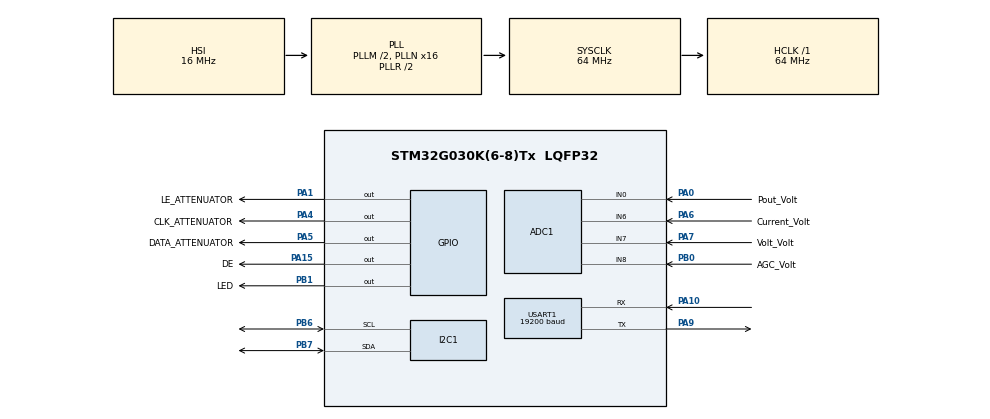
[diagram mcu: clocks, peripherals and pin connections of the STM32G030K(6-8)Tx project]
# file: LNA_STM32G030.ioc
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ADC1.Channel-23\#ChannelRegularConversion=ADC_CHANNEL_6
ADC1.Channel-24\#ChannelRegularConversion=ADC_CHANNEL_8
ADC1.Channel-25\#ChannelRegularConversion=ADC_CHANNEL_7
ADC1.Channel-9\#ChannelRegularConversion=ADC_CHANNEL_0
ADC1.DMAContinuousRequests=ENABLE
ADC1.EOCSelection=ADC_EOC_SEQ_CONV
ADC1.ExternalTrigConv=ADC_SOFTWARE_START
ADC1.NbrOfConversion=4
ADC1.NbrOfConversionFlag=1
ADC1.Rank-23\#ChannelRegularConversion=2
ADC1.Rank-24\#ChannelRegularConversion=3
ADC1.Rank-25\#ChannelRegularConversion=4
ADC1.Rank-9\#ChannelRegularConversion=1
ADC1.SamplingTime-23\#ChannelRegularConversion=ADC_SAMPLINGTIME_COMMON_1
ADC1.SamplingTime-24\#ChannelRegularConversion=ADC_SAMPLINGTIME_COMMON_1
ADC1.SamplingTime-25\#ChannelRegularConversion=ADC_SAMPLINGTIME_COMMON_1
ADC1.SamplingTime-9\#ChannelRegularConversion=ADC_SAMPLINGTIME_COMMON_1
ADC1.SamplingTimeCommon1=ADC_SAMPLETIME_12CYCLES_5
ADC1.SamplingTimeCommon2=ADC_SAMPLETIME_12CYCLES_5
ADC1.SelectedChannel=ADC_CHANNEL_0|ADC_CHANNEL_6|ADC_CHANNEL_7|ADC_CHANNEL_8
ADC1.master=1
Dma.ADC1.0.Direction=DMA_PERIPH_TO_MEMORY
Dma.ADC1.0.EventEnable=DISABLE
Dma.ADC1.0.Instance=DMA1_Channel3
Dma.ADC1.0.MemDataAlignment=DMA_MDATAALIGN_HALFWORD
Dma.ADC1.0.MemInc=DMA_MINC_ENABLE
Dma.ADC1.0.Mode=DMA_NORMAL
Dma.ADC1.0.PeriphDataAlignment=DMA_PDATAALIGN_HALFWORD
Dma.ADC1.0.PeriphInc=DMA_PINC_DISABLE
Dma.ADC1.0.Polarity=HAL_DMAMUX_REQ_GEN_RISING
Dma.ADC1.0.Priority=DMA_PRIORITY_LOW
Dma.ADC1.0.RequestNumber=1
Dma.ADC1.0.SignalID=NONE
Dma.ADC1.0.SyncEnable=DISABLE
Dma.ADC1.0.SyncPolarity=HAL_DMAMUX_SYNC_NO_EVENT
Dma.ADC1.0.SyncRequestNumber=1
Dma.ADC1.0.SyncSignalID=NONE
Dma.Request0=ADC1
Dma.Request1=USART1_RX
Dma.USART1_RX.1.Direction=DMA_PERIPH_TO_MEMORY
Dma.USART1_RX.1.EventEnable=DISABLE
Dma.USART1_RX.1.Instance=DMA1_Channel1
Dma.USART1_RX.1.MemDataAlignment=DMA_MDATAALIGN_BYTE
Dma.USART1_RX.1.MemInc=DMA_MINC_ENABLE
Dma.USART1_RX.1.Mode=DMA_NORMAL
Dma.USART1_RX.1.PeriphDataAlignment=DMA_PDATAALIGN_BYTE
Dma.USART1_RX.1.PeriphInc=DMA_PINC_DISABLE
Dma.USART1_RX.1.Polarity=HAL_DMAMUX_REQ_GEN_RISING
Dma.USART1_RX.1.Priority=DMA_PRIORITY_LOW
Dma.USART1_RX.1.RequestNumber=1
Dma.USART1_RX.1.SignalID=NONE
Dma.USART1_RX.1.SyncEnable=DISABLE
Dma.USART1_RX.1.SyncPolarity=HAL_DMAMUX_SYNC_NO_EVENT
Dma.USART1_RX.1.SyncRequestNumber=1
Dma.USART1_RX.1.SyncSignalID=NONE
I2C1.Timing=0x10707DBC
IWDG.Prescaler=IWDG_PRESCALER_16
IWDG.Reload=2000
Mcu.Family=STM32G0
Mcu.Name=STM32G030K(6-8)Tx
Mcu.Package=LQFP32
NVIC.DMA1_Channel1_IRQn=true\:0\:0\:false\:false\:true\:false\:true\:true
NVIC.DMA1_Channel2_3_IRQn=true\:0\:0\:false\:false\:true\:false\:true\:true
PA0.GPIO_Label=Pout_Volt
PA0.Mode=IN0
PA0.Signal=ADC1_IN0
PA1.GPIO_Label=LE_ATTENUATOR
PA1.Signal=GPIO_Output
PA10.Mode=Asynchronous
PA10.Signal=USART1_RX
PA13.Mode=Serial_Wire
PA13.Signal=SYS_SWDIO
PA14-BOOT0.Mode=Serial_Wire
PA14-BOOT0.Signal=SYS_SWCLK
PA15.GPIO_Label=DE
PA15.Signal=GPIO_Output
PA2.Signal=USART2_TX
PA3.Signal=USART2_RX
PA4.GPIO_Label=CLK_ATTENUATOR
PA4.Signal=GPIO_Output
PA5.GPIO_Label=DATA_ATTENUATOR
PA5.Signal=GPIO_Output
PA6.GPIO_Label=Current_Volt
PA6.Mode=IN6
PA6.Signal=ADC1_IN6
PA7.GPIO_Label=Volt_Volt
PA7.Mode=IN7
PA7.Signal=ADC1_IN7
PA9.Mode=Asynchronous
PA9.Signal=USART1_TX
PB0.GPIO_Label=AGC_Volt
PB0.Signal=SharedAnalog_PB0
PB1.GPIO_Label=LED
PB1.Signal=GPIO_Output
PB6.Mode=I2C
PB6.Signal=I2C1_SCL
PB7.Mode=I2C
PB7.Signal=I2C1_SDA
ProjectManager.HeapSize=0x200
ProjectManager.StackSize=0x400
ProjectManager.TargetToolchain=STM32CubeIDE
RCC.ADCFreq_Value=64000000
RCC.AHBFreq_Value=64000000
RCC.CortexFreq_Value=64000000
RCC.EXTERNAL_CLOCK_VALUE=12288000
RCC.HCLKFreq_Value=64000000
RCC.HSE_VALUE=8000000
RCC.HSI_VALUE=16000000
RCC.LSE_VALUE=32768
RCC.PLLM=RCC_PLLM_DIV2
RCC.PLLN=16
RCC.SYSCLKFreq_VALUE=64000000
RCC.SYSCLKSource=RCC_SYSCLKSOURCE_PLLCLK
RCC.VCOOutputFreq_Value=128000000
SH.SharedAnalog_PB0.0=GPIO_Analog
SH.SharedAnalog_PB0.1=ADC1_IN8,IN8
USART1.BaudRate=19200
USART1.VirtualMode-Asynchronous=VM_ASYNC
VP_IWDG_VS_IWDG.Mode=IWDG_Activate
board=custom

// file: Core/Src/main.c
/* USER CODE BEGIN Header */
/**
 ******************************************************************************
 * @file           : main.c
 * @brief          : Main program body
 ******************************************************************************
 * @attention
 *
 * Copyright (c) 2022 STMicroelectronics.
 * All rights reserved.
 *
 * This software is licensed under terms that can be found in the LICENSE file
 * in the root directory of this software component.
 * If no LICENSE file comes with this software, it is provided AS-IS.
 *
 ******************************************************************************
 */
/* USER CODE END Header */
#include "main.h"

/* USER CODE BEGIN Includes */
#include <stdio.h>
#include <stdlib.h>
#include <string.h>
#include "eeprom.h"
#include "utils.h"
/* USER CODE END Includes */

ADC_HandleTypeDef hadc1;
DMA_HandleTypeDef hdma_adc1;

I2C_HandleTypeDef hi2c1;

IWDG_HandleTypeDef hiwdg;

UART_HandleTypeDef huart1;
DMA_HandleTypeDef hdma_usart1_rx;

/* USER CODE BEGIN PV */

#define RX_UART1_BUFFLEN  20
#define TX_UART1_BUFFLEN  100
#define LTEL_FRAME_SIZE 14
#define SIGMA_FRAME_SIZE 14
#define MEDIA_NUM 20

static const uint8_t MODULE_ADDR = 0x08;
static const uint8_t MODULE_FUNCTION = 0x09;

static const uint8_t QUERY_PARAMETER_LTEL = 0x11;
static const uint8_t QUERY_PARAMETER_SIGMA = 0x12;
static const uint8_t QUERY_PARAMETER_STR = 0x15;
static const uint8_t QUERY_ADC = 0x16;

static const uint8_t SET_ATT_LTEL = 0x20;
static const uint8_t SET_POUT_MAX = 0x24;
static const uint8_t SET_POUT_MIN = 0x23;

static const float ADC_CURRENT_FACTOR = 298.1818182f;
static const float ADC_VOLTAGE_FACTOR = 0.007404330f;

static const uint8_t LTEL_START_MARK = 0x7e;
static const uint8_t LTEL_END_MARK = 0x7f;

static const int8_t POUT_DBM_MAX = 0;
static const int8_t POUT_DBM_MIN = -30;
static const uint16_t POUT_ADC_MAX = 1833;
static const uint16_t POUT_ADC_MIN = 488;

static uint8_t LNA_ATT_ADDR = 0x00;

static uint8_t POUT_ADC_MAX_ADDR = 0x03;
static uint8_t POUT_ADC_MIN_ADDR = 0x05;
static uint8_t POUT_ISCALIBRATED_ADDR = 0x07;

static uint8_t POUT_ISCALIBRATED = 0xAA;

struct Lna {
	uint8_t attenuation;
	uint8_t gain;
	int8_t pout;
	uint8_t current;
	int8_t pin;
	float voltage;
};

volatile uint16_t adcResultsDMA[4];
uint16_t adc0_values[MEDIA_NUM];
uint16_t adc1_values[MEDIA_NUM];
uint16_t adc2_values[MEDIA_NUM];
uint16_t adc3_values[MEDIA_NUM];
uint16_t adc0_media;
uint16_t adc1_media;
uint16_t adc2_media;
uint16_t adc3_media;
uint8_t adc_counter = 0;

static const uint16_t LED_STATE_TIMEOUT = 1000;
static const uint8_t  LED_ON_TIMEOUT = 50;
uint32_t led_counter = 0;

uint8_t uart_readed_bytes;
uint8_t UART1_rxBuffer[RX_UART1_BUFFLEN] = { 0 };
uint8_t UART1_txBuffer[TX_UART1_BUFFLEN] = { 0 };
uint8_t rxByte = 0x00;
uint8_t rcvcount = 0;
bool isDataReady = false;
bool isLnaModule = false;
bool isLnaAddr = false;

void HAL_UARTEx_RxEventCallback(UART_HandleTypeDef *huart, uint16_t size);
void HAL_ADC_ConvCpltCallback(ADC_HandleTypeDef *hadc);

/* USER CODE END PV */

void SystemClock_Config(void);
static void MX_GPIO_Init(void);
static void MX_ADC1_Init(void);
static void MX_I2C1_Init(void);
static void MX_DMA_Init(void);
static void MX_USART1_UART_Init(void);
static void MX_IWDG_Init(void);
/* USER CODE BEGIN PFP */

void sigma_set_parameter_frame(uint8_t *frame, struct Lna lna);
void ltel_set_parameter_frame(uint8_t *frame, struct Lna lna);
uint8_t get_db_gain(uint16_t adc_gain);
uint8_t get_dbm_pout(uint16_t pout_adc);
struct Lna get_lna();
void set_attenuation(uint8_t attenuation, uint8_t times);
void uart_send_frame(uint8_t *str, uint8_t len);
void uart_send_str(uint8_t *str);
void adc_media_calc();

//void uart_reset_reading(UART_HandleTypeDef *huart);
/* USER CODE END PFP */

int main(void)
{

  /* MCU Configuration--------------------------------------------------------*/

  /* Reset of all peripherals, Initializes the Flash interface and the Systick. */
  HAL_Init();

  /* Configure the system clock */
  SystemClock_Config();

  /* USER CODE BEGIN SysInit */
	MX_DMA_Init();
	MX_GPIO_Init();
	MX_ADC1_Init();
	MX_I2C1_Init();
	MX_USART1_UART_Init();
	MX_IWDG_Init();
  /* USER CODE END SysInit */

  /* Initialize all configured peripherals */
  /* USER CODE BEGIN 2 */

// Calibrate The ADC On Power-Up For Better Accuracy
	HAL_ADCEx_Calibration_Start(&hadc1);
	uart_send_str((uint8_t*) "LNA init\n\r");
	set_attenuation(EEPROM_Read(LNA_ATT_ADDR), 3);

	if (EEPROM_Read(POUT_ISCALIBRATED_ADDR) != POUT_ISCALIBRATED) {
		EEPROM_2byte_Write(POUT_ADC_MIN_ADDR, POUT_ADC_MIN);
		EEPROM_2byte_Write(POUT_ADC_MAX_ADDR, POUT_ADC_MAX);
	}

  /* USER CODE END 2 */

  /* Infinite loop */
  /* USER CODE BEGIN WHILE */

	HAL_ADC_Start_DMA(&hadc1, (uint32_t*) adcResultsDMA, 4);
	HAL_UARTEx_ReceiveToIdle_DMA(&huart1, &rxByte, 1);
	__HAL_DMA_DISABLE_IT(&hdma_usart1_rx, DMA_IT_HT);

	led_counter = HAL_GetTick();
	uint8_t data[5] ={0x16, 0x09, 0x17, 0xC2,0xFE};
	uint8_t crc ;
	    crc = Crc8(data, 5);   /* returns 0x92 */

	while (1) {

//Fin function 1 second
    /* USER CODE END WHILE */

    /* USER CODE BEGIN 3 */

		if (isDataReady) {

			uint8_t lna_cmd = UART1_rxBuffer[3];

			if (lna_cmd == QUERY_PARAMETER_LTEL) {
				struct Lna lna;
				uint8_t frame[14];
				lna = get_lna();
				ltel_set_parameter_frame(frame, lna);
				uart_send_frame(frame, 14);

			} else if (lna_cmd == SET_ATT_LTEL) {
				uint8_t attenuation_value = UART1_rxBuffer[6];
				set_attenuation(attenuation_value, 3);
				EEPROM_Write(LNA_ATT_ADDR, attenuation_value);
				sprintf(UART1_txBuffer, "Attenuation %d\r\n",
						attenuation_value);
				uart_send_frame(UART1_txBuffer, TX_UART1_BUFFLEN);
			} else if (lna_cmd == SET_POUT_MAX) {

				EEPROM_2byte_Write(POUT_ADC_MAX_ADDR, adc0_media);
				HAL_Delay(5);
				EEPROM_Write(POUT_ISCALIBRATED_ADDR, POUT_ISCALIBRATED);
				uart_send_str((uint8_t*) "Saved Pout max value\n\r");

			} else if (lna_cmd == SET_POUT_MIN) {

				EEPROM_2byte_Write(POUT_ADC_MIN_ADDR, adc0_media);
				HAL_Delay(5);
				EEPROM_Write(POUT_ISCALIBRATED_ADDR, POUT_ISCALIBRATED);
				uart_send_str((uint8_t*) "Saved Pout min value\n\r");

			} else if (lna_cmd == QUERY_PARAMETER_STR) {

				struct Lna lna;
				lna = get_lna();
				sprintf(UART1_txBuffer,
						"Pout %d[dBm] Att %u[dB] Gain %u[dB] Pin %d[dBm] Curent %d[mA] Voltage %u[V]\r\n",
						lna.pout, lna.attenuation, lna.gain, lna.pin,
						lna.current, (uint8_t) lna.voltage);
				uart_send_frame(UART1_txBuffer, TX_UART1_BUFFLEN);

			} else if (lna_cmd == QUERY_ADC) {
				adc_media_calc();
				sprintf(UART1_txBuffer,
						"Pout %d  \t Gain %u \t Curent %d \t Voltage %d\r\n",
						adc0_media,adc1_media, adc2_media,
						adc3_media);
				uart_send_frame(UART1_txBuffer, TX_UART1_BUFFLEN);

			} else if (lna_cmd == QUERY_PARAMETER_SIGMA) {
				struct Lna lna;
				uint8_t frame[LTEL_FRAME_SIZE];
				lna = get_lna();
				sigma_set_parameter_frame(frame, lna);
				uart_send_frame(frame, LTEL_FRAME_SIZE);
			}

			isDataReady = false;
			for (int i = 0; i < TX_UART1_BUFFLEN; i++) {
				if (i < RX_UART1_BUFFLEN)
					UART1_rxBuffer[i] = 0x00;
				UART1_txBuffer[i] = 0x00;
			}

		}

		if (HAL_GetTick() - led_counter > LED_STATE_TIMEOUT) {
			led_counter = HAL_GetTick();
		} else {
			if (HAL_GetTick() - led_counter > LED_ON_TIMEOUT) {
				HAL_GPIO_WritePin(LED_GPIO_Port, LED_Pin, GPIO_PIN_RESET);
			} else {
				HAL_GPIO_WritePin(LED_GPIO_Port, LED_Pin, GPIO_PIN_SET);
			}
		}
		HAL_IWDG_Refresh(&hiwdg);

	}   //Fin while
  /* USER CODE END 3 */
}

void SystemClock_Config(void)
{
  RCC_OscInitTypeDef RCC_OscInitStruct = {0};
  RCC_ClkInitTypeDef RCC_ClkInitStruct = {0};

  /** Configure the main internal regulator output voltage
  */
  HAL_PWREx_ControlVoltageScaling(PWR_REGULATOR_VOLTAGE_SCALE1);

  /** Initializes the RCC Oscillators according to the specified parameters
  * in the RCC_OscInitTypeDef structure.
  */
  RCC_OscInitStruct.OscillatorType = RCC_OSCILLATORTYPE_HSI|RCC_OSCILLATORTYPE_LSI;
  RCC_OscInitStruct.HSIState = RCC_HSI_ON;
  RCC_OscInitStruct.HSIDiv = RCC_HSI_DIV1;
  RCC_OscInitStruct.HSICalibrationValue = RCC_HSICALIBRATION_DEFAULT;
  RCC_OscInitStruct.LSIState = RCC_LSI_ON;
  RCC_OscInitStruct.PLL.PLLState = RCC_PLL_ON;
  RCC_OscInitStruct.PLL.PLLSource = RCC_PLLSOURCE_HSI;
  RCC_OscInitStruct.PLL.PLLM = RCC_PLLM_DIV2;
  RCC_OscInitStruct.PLL.PLLN = 16;
  RCC_OscInitStruct.PLL.PLLP = RCC_PLLP_DIV2;
  RCC_OscInitStruct.PLL.PLLR = RCC_PLLR_DIV2;
  if (HAL_RCC_OscConfig(&RCC_OscInitStruct) != HAL_OK)
  {
    Error_Handler();
  }

  /** Initializes the CPU, AHB and APB buses clocks
  */
  RCC_ClkInitStruct.ClockType = RCC_CLOCKTYPE_HCLK|RCC_CLOCKTYPE_SYSCLK
                              |RCC_CLOCKTYPE_PCLK1;
  RCC_ClkInitStruct.SYSCLKSource = RCC_SYSCLKSOURCE_PLLCLK;
  RCC_ClkInitStruct.AHBCLKDivider = RCC_SYSCLK_DIV1;
  RCC_ClkInitStruct.APB1CLKDivider = RCC_HCLK_DIV1;

  if (HAL_RCC_ClockConfig(&RCC_ClkInitStruct, FLASH_LATENCY_2) != HAL_OK)
  {
    Error_Handler();
  }
}

static void MX_ADC1_Init(void)
{

  ADC_ChannelConfTypeDef sConfig = {0};

  /** Configure the global features of the ADC (Clock, Resolution, Data Alignment and number of conversion)
  */
  hadc1.Instance = ADC1;
  hadc1.Init.ClockPrescaler = ADC_CLOCK_SYNC_PCLK_DIV2;
  hadc1.Init.Resolution = ADC_RESOLUTION_12B;
  hadc1.Init.DataAlign = ADC_DATAALIGN_RIGHT;
  hadc1.Init.ScanConvMode = ADC_SCAN_ENABLE;
  hadc1.Init.EOCSelection = ADC_EOC_SEQ_CONV;
  hadc1.Init.LowPowerAutoWait = DISABLE;
  hadc1.Init.LowPowerAutoPowerOff = DISABLE;
  hadc1.Init.ContinuousConvMode = DISABLE;
  hadc1.Init.NbrOfConversion = 4;
  hadc1.Init.DiscontinuousConvMode = DISABLE;
  hadc1.Init.ExternalTrigConv = ADC_SOFTWARE_START;
  hadc1.Init.ExternalTrigConvEdge = ADC_EXTERNALTRIGCONVEDGE_NONE;
  hadc1.Init.DMAContinuousRequests = ENABLE;
  hadc1.Init.Overrun = ADC_OVR_DATA_PRESERVED;
  hadc1.Init.SamplingTimeCommon1 = ADC_SAMPLETIME_12CYCLES_5;
  hadc1.Init.SamplingTimeCommon2 = ADC_SAMPLETIME_12CYCLES_5;
  hadc1.Init.OversamplingMode = DISABLE;
  hadc1.Init.TriggerFrequencyMode = ADC_TRIGGER_FREQ_HIGH;
  if (HAL_ADC_Init(&hadc1) != HAL_OK)
  {
    Error_Handler();
  }

  /** Configure Regular Channel
  */
  sConfig.Channel = ADC_CHANNEL_0;
  sConfig.Rank = ADC_REGULAR_RANK_1;
  sConfig.SamplingTime = ADC_SAMPLINGTIME_COMMON_1;
  if (HAL_ADC_ConfigChannel(&hadc1, &sConfig) != HAL_OK)
  {
    Error_Handler();
  }

  /** Configure Regular Channel
  */
  sConfig.Channel = ADC_CHANNEL_6;
  sConfig.Rank = ADC_REGULAR_RANK_2;
  if (HAL_ADC_ConfigChannel(&hadc1, &sConfig) != HAL_OK)
  {
    Error_Handler();
  }

  /** Configure Regular Channel
  */
  sConfig.Channel = ADC_CHANNEL_8;
  sConfig.Rank = ADC_REGULAR_RANK_3;
  if (HAL_ADC_ConfigChannel(&hadc1, &sConfig) != HAL_OK)
  {
    Error_Handler();
  }

  /** Configure Regular Channel
  */
  sConfig.Channel = ADC_CHANNEL_7;
  sConfig.Rank = ADC_REGULAR_RANK_4;
  if (HAL_ADC_ConfigChannel(&hadc1, &sConfig) != HAL_OK)
  {
    Error_Handler();
  }

}

static void MX_I2C1_Init(void)
{

  hi2c1.Instance = I2C1;
  hi2c1.Init.Timing = 0x10707DBC;
  hi2c1.Init.OwnAddress1 = 0;
  hi2c1.Init.AddressingMode = I2C_ADDRESSINGMODE_7BIT;
  hi2c1.Init.DualAddressMode = I2C_DUALADDRESS_DISABLE;
  hi2c1.Init.OwnAddress2 = 0;
  hi2c1.Init.OwnAddress2Masks = I2C_OA2_NOMASK;
  hi2c1.Init.GeneralCallMode = I2C_GENERALCALL_DISABLE;
  hi2c1.Init.NoStretchMode = I2C_NOSTRETCH_DISABLE;
  if (HAL_I2C_Init(&hi2c1) != HAL_OK)
  {
    Error_Handler();
  }

  /** Configure Analogue filter
  */
  if (HAL_I2CEx_ConfigAnalogFilter(&hi2c1, I2C_ANALOGFILTER_ENABLE) != HAL_OK)
  {
    Error_Handler();
  }

  /** Configure Digital filter
  */
  if (HAL_I2CEx_ConfigDigitalFilter(&hi2c1, 0) != HAL_OK)
  {
    Error_Handler();
  }

}

static void MX_IWDG_Init(void)
{

  hiwdg.Instance = IWDG;
  hiwdg.Init.Prescaler = IWDG_PRESCALER_16;
  hiwdg.Init.Window = 4095;
  hiwdg.Init.Reload = 2000;
  if (HAL_IWDG_Init(&hiwdg) != HAL_OK)
  {
    Error_Handler();
  }

}

static void MX_USART1_UART_Init(void)
{

  huart1.Instance = USART1;
  huart1.Init.BaudRate = 19200;
  huart1.Init.WordLength = UART_WORDLENGTH_8B;
  huart1.Init.StopBits = UART_STOPBITS_1;
  huart1.Init.Parity = UART_PARITY_NONE;
  huart1.Init.Mode = UART_MODE_TX_RX;
  huart1.Init.HwFlowCtl = UART_HWCONTROL_NONE;
  huart1.Init.OverSampling = UART_OVERSAMPLING_16;
  huart1.Init.OneBitSampling = UART_ONE_BIT_SAMPLE_DISABLE;
  huart1.Init.ClockPrescaler = UART_PRESCALER_DIV1;
  huart1.AdvancedInit.AdvFeatureInit = UART_ADVFEATURE_NO_INIT;
  if (HAL_UART_Init(&huart1) != HAL_OK)
  {
    Error_Handler();
  }
  if (HAL_UARTEx_SetTxFifoThreshold(&huart1, UART_TXFIFO_THRESHOLD_1_8) != HAL_OK)
  {
    Error_Handler();
  }
  if (HAL_UARTEx_SetRxFifoThreshold(&huart1, UART_RXFIFO_THRESHOLD_1_8) != HAL_OK)
  {
    Error_Handler();
  }
  if (HAL_UARTEx_DisableFifoMode(&huart1) != HAL_OK)
  {
    Error_Handler();
  }

}

static void MX_DMA_Init(void)
{

  /* DMA controller clock enable */
  __HAL_RCC_DMA1_CLK_ENABLE();

  /* DMA interrupt init */
  /* DMA1_Channel1_IRQn interrupt configuration */
  HAL_NVIC_SetPriority(DMA1_Channel1_IRQn, 0, 0);
  HAL_NVIC_EnableIRQ(DMA1_Channel1_IRQn);
  /* DMA1_Channel2_3_IRQn interrupt configuration */
  HAL_NVIC_SetPriority(DMA1_Channel2_3_IRQn, 0, 0);
  HAL_NVIC_EnableIRQ(DMA1_Channel2_3_IRQn);

}

static void MX_GPIO_Init(void)
{
  GPIO_InitTypeDef GPIO_InitStruct = {0};

  /* GPIO Ports Clock Enable */
  __HAL_RCC_GPIOA_CLK_ENABLE();
  __HAL_RCC_GPIOB_CLK_ENABLE();

  /*Configure GPIO pin Output Level */
  HAL_GPIO_WritePin(GPIOA, LE_ATTENUATOR_Pin|CLK_ATTENUATOR_Pin|DATA_ATTENUATOR_Pin|DE_Pin, GPIO_PIN_RESET);

  /*Configure GPIO pin Output Level */
  HAL_GPIO_WritePin(LED_GPIO_Port, LED_Pin, GPIO_PIN_RESET);

  /*Configure GPIO pins : LE_ATTENUATOR_Pin CLK_ATTENUATOR_Pin DATA_ATTENUATOR_Pin DE_Pin */
  GPIO_InitStruct.Pin = LE_ATTENUATOR_Pin|CLK_ATTENUATOR_Pin|DATA_ATTENUATOR_Pin|DE_Pin;
  GPIO_InitStruct.Mode = GPIO_MODE_OUTPUT_PP;
  GPIO_InitStruct.Pull = GPIO_NOPULL;
  GPIO_InitStruct.Speed = GPIO_SPEED_FREQ_LOW;
  HAL_GPIO_Init(GPIOA, &GPIO_InitStruct);

  /*Configure GPIO pins : PA2 PA3 */
  GPIO_InitStruct.Pin = GPIO_PIN_2|GPIO_PIN_3;
  GPIO_InitStruct.Mode = GPIO_MODE_AF_PP;
  GPIO_InitStruct.Pull = GPIO_NOPULL;
  GPIO_InitStruct.Speed = GPIO_SPEED_FREQ_LOW;
  GPIO_InitStruct.Alternate = GPIO_AF1_USART2;
  HAL_GPIO_Init(GPIOA, &GPIO_InitStruct);

  /*Configure GPIO pin : LED_Pin */
  GPIO_InitStruct.Pin = LED_Pin;
  GPIO_InitStruct.Mode = GPIO_MODE_OUTPUT_PP;
  GPIO_InitStruct.Pull = GPIO_NOPULL;
  GPIO_InitStruct.Speed = GPIO_SPEED_FREQ_LOW;
  HAL_GPIO_Init(LED_GPIO_Port, &GPIO_InitStruct);

}

/* USER CODE BEGIN 4 */

void ltel_set_parameter_frame(uint8_t *frame, struct Lna lna) {
	uint8_t crc_frame[2];
	uint16_t crc;
	frame[0] = LTEL_START_MARK;
	frame[1] = MODULE_FUNCTION;
	frame[2] = MODULE_ADDR;
	frame[3] = QUERY_PARAMETER_LTEL;
	frame[4] = 0x00;
	frame[5] = 0x05;
	frame[6] = 0x00;
	frame[7] = lna.attenuation;
	frame[8] = lna.gain;
	frame[9] = lna.pout;
	frame[10] = lna.voltage;
	crc = crc_get(&(frame[1]), 10);
	memcpy(crc_frame, &crc, 2);
	frame[11] = crc_frame[0];
	frame[12] = crc_frame[1];
	frame[13] = LTEL_END_MARK;
}

void sigma_set_parameter_frame(uint8_t *frame, struct Lna lna) {
	uint8_t crc_frame[2];
	uint16_t crc;
	frame[0] = LTEL_START_MARK;
	frame[1] = MODULE_FUNCTION;
	frame[2] = MODULE_ADDR;
	frame[3] = QUERY_PARAMETER_SIGMA;
	frame[4] = 0x06;
	frame[5] = lna.pout;
	frame[6] = lna.attenuation;
	frame[7] = lna.gain;
	frame[8] = lna.current;
	frame[9] = lna.voltage;
	frame[10] = lna.pin;
	crc = crc_get(&(frame[1]), 10);
	memcpy(crc_frame, &crc, 2);
	frame[11] = crc_frame[0];
	frame[12] = crc_frame[1];
	frame[13] = LTEL_END_MARK;
}

uint8_t get_db_gain(uint16_t adc_gain) {

	if (adc_gain >= 3781)
		return 45;
	else if (adc_gain < 3781 && adc_gain >= 1515)
		return 0.0022f * adc_gain + 36.6571f;
	else if (adc_gain < 1515 && adc_gain >= 1188)
		return (0.0153f * adc_gain + 16.8349f);
	else if (adc_gain < 1188 && adc_gain >= 1005)
		return (0.0273f * adc_gain + 2.540f);
	else if (adc_gain < 1005 && adc_gain >= 897)
		return (0.0463f * adc_gain - 16.5278f);
	else if (adc_gain < 897 && adc_gain >= 825)
		return (0.0694f * adc_gain - 37.2917f);
	else if (adc_gain < 825 && adc_gain >= 776)
		return (0.1020f * adc_gain - 64.1837f);
	else if (adc_gain < 776 && adc_gain >= 746)
		return (0.1667f * adc_gain - 114.333f);
	else if (adc_gain < 746 && adc_gain >= 733)
		return (0.3846f * adc_gain - 276.9231f);
	else if (adc_gain < 733 && adc_gain >= 725)
		return (0.625f * adc_gain - 453.125f);
	else if (adc_gain < 725)
		return 0;
	return 0;
}

uint8_t get_dbm_pout(uint16_t pout_adc) {
	uint16_t adc_max = 0;
	uint16_t adc_min = 0;

//	do {
	adc_max = EEPROM_2byte_Read(POUT_ADC_MAX_ADDR);
	HAL_Delay(2);
	adc_min = EEPROM_2byte_Read(POUT_ADC_MIN_ADDR);
//	} while (adc_max == adc_min);

	float m = (float) (POUT_DBM_MAX - POUT_DBM_MIN)
			/ (float) (adc_max - adc_min);
	float b = POUT_DBM_MAX - adc_max * m;

	if (pout_adc > adc_max) {
		return POUT_DBM_MAX;
	} else if (pout_adc < adc_min) {
		return POUT_DBM_MIN;
	}

	return (int8_t) (m * (float) pout_adc + b);
}

struct Lna get_lna() {

	struct Lna lna;
	adc_media_calc();
	lna.pout = get_dbm_pout(adc0_media);
	lna.current = ADC_CURRENT_FACTOR * adc1_media / 4096.0f;
	lna.gain = get_db_gain(adc2_media);
	lna.voltage = ADC_VOLTAGE_FACTOR * (float) adc3_media;
	lna.attenuation = EEPROM_Read(LNA_ATT_ADDR);
	lna.pin = lna.pout - lna.gain + lna.attenuation;
	return lna;
}

void set_attenuation(uint8_t attenuation, uint8_t times) {

	if (attenuation < 0 || attenuation > 31) {
		attenuation = 0;
	}
	attenuation *= 2;
	for (uint8_t i = 0; i < times; i++) {
		uint8_t mask = 0b00100000;
		for (uint8_t j = 0; j < 6; j++) {
			//Ciclo for de 6 vueltas para enviar los 6bits de configuración
			if (mask & attenuation) {
				//Si el bit de la mascara en 1 coincide con el bit del valor, entonces
				HAL_GPIO_WritePin(GPIOA, DATA_ATTENUATOR_Pin, GPIO_PIN_SET); //Pin data en alto
			} else {
				HAL_GPIO_WritePin(GPIOA, DATA_ATTENUATOR_Pin, GPIO_PIN_RESET); //Pin data en bajo
			}
			HAL_GPIO_WritePin(GPIOA, CLK_ATTENUATOR_Pin, GPIO_PIN_SET); //Pin clock en alto
			HAL_Delay(1); //Delay de 1mS
			HAL_GPIO_WritePin(GPIOA, CLK_ATTENUATOR_Pin, GPIO_PIN_RESET); //Pin clock en bajo
			mask = mask >> 1; //Muevo la máscara una posición
		}
		HAL_GPIO_WritePin(GPIOA, LE_ATTENUATOR_Pin, GPIO_PIN_SET); //Pin LE en alto
		HAL_Delay(1);
		HAL_GPIO_WritePin(GPIOA, LE_ATTENUATOR_Pin, GPIO_PIN_RESET); //Pin LE en bajo
	}

}

void uart_send_frame(uint8_t *str, uint8_t len) {
	HAL_GPIO_WritePin(GPIOA, DE_Pin, GPIO_PIN_SET);
	HAL_UART_Transmit(&huart1, str, len, 100);
	HAL_GPIO_WritePin(GPIOA, DE_Pin, GPIO_PIN_RESET);
}

void uart_send_str(uint8_t *str) {
	uint8_t i;

	HAL_GPIO_WritePin(GPIOA, DE_Pin, GPIO_PIN_SET);
	for (i = 0; str[i] != '\0'; i++)
		HAL_UART_Transmit(&huart1, str + i, 1, 2);
	HAL_GPIO_WritePin(GPIOA, DE_Pin, GPIO_PIN_RESET);
}

void adc_media_calc() {
	uint32_t sum0 = 0;
	uint32_t sum1 = 0;
	uint32_t sum2 = 0;
	uint32_t sum3 = 0;

	for (int i = 0; i < MEDIA_NUM; i++) {
		sum0 += adcResultsDMA[0];
		sum1 += adcResultsDMA[1];
		sum2 += adcResultsDMA[2];
		sum3 += adcResultsDMA[3];
	}
	adc0_media = sum0 / MEDIA_NUM;
	adc1_media = sum1 / MEDIA_NUM;
	adc2_media = sum2 / MEDIA_NUM;
	adc3_media = sum3 / MEDIA_NUM;
}

void HAL_UARTEx_RxEventCallback(UART_HandleTypeDef *huart, uint16_t size) {

	if (isDataReady == false) {
		if (rcvcount == 0 && rxByte == LTEL_START_MARK) {
			UART1_rxBuffer[rcvcount] = rxByte;
			rcvcount++;
		} else if (rcvcount > 0 && (UART1_rxBuffer[0] == LTEL_START_MARK)) {
			UART1_rxBuffer[rcvcount] = rxByte;
			if (rcvcount == 1)
				isLnaModule = rxByte == MODULE_FUNCTION ? true : false;
			if (rcvcount == 2)
				isLnaAddr = rxByte == MODULE_ADDR ? true : false;
			rcvcount++;
			if (rxByte == LTEL_END_MARK) {
				if (isLnaModule && isLnaAddr)
					isDataReady = true;
				rcvcount = 0;
				isLnaAddr = false;
				isLnaModule = false;
			}

			if (rcvcount >= RX_UART1_BUFFLEN) {
				rcvcount = 0;
				rcvcount = 0;
				isLnaAddr = false;
				isLnaModule = false;
				for (int i = 0; i < RX_UART1_BUFFLEN; i++) {
					UART1_rxBuffer[i] = 0;
				}
			}
		}
	}

	HAL_UARTEx_ReceiveToIdle_DMA(&huart1, &rxByte, 1);
	__HAL_DMA_DISABLE_IT(&hdma_usart1_rx, DMA_IT_HT);

}

void HAL_ADC_ConvCpltCallback(ADC_HandleTypeDef *hadc) {

	if (adc_counter < MEDIA_NUM) {
		adc0_values[adc_counter] = adcResultsDMA[0];
		adc1_values[adc_counter] = adcResultsDMA[1];
		adc2_values[adc_counter] = adcResultsDMA[2];
		adc3_values[adc_counter] = adcResultsDMA[3];
		adc_counter++;

	} else {
		adc_counter = 0;

	}

	HAL_ADC_Start_DMA(&hadc1, (uint32_t*) adcResultsDMA, 4);

}
/* USER CODE END 4 */

void Error_Handler(void)
{
	__disable_irq();
	while (1) {
	}
}
